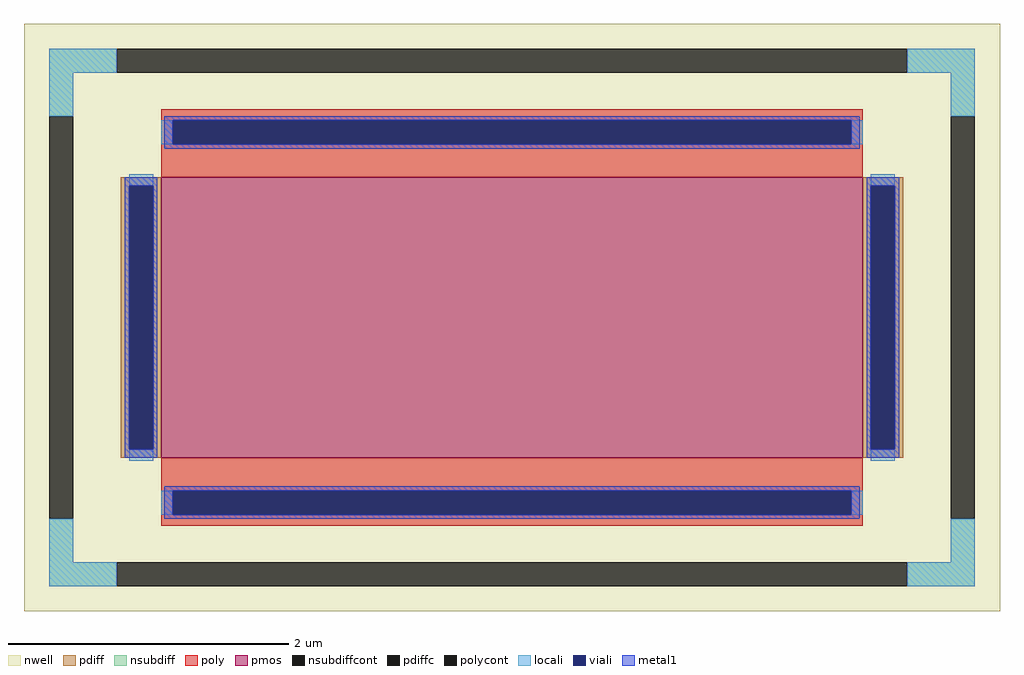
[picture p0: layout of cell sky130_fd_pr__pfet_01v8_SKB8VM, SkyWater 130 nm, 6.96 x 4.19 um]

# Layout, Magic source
magic
tech sky130A
magscale 1 2
<< nwell >>
rect -696 -419 696 419
<< pmos >>
rect -500 -200 500 200
<< pdiff >>
rect -558 188 -500 200
rect -558 -188 -546 188
rect -512 -188 -500 188
rect -558 -200 -500 -188
rect 500 188 558 200
rect 500 -188 512 188
rect 546 -188 558 188
rect 500 -200 558 -188
<< pdiffc >>
rect -546 -188 -512 188
rect 512 -188 546 188
<< nsubdiff >>
rect -660 349 -564 383
rect 564 349 660 383
rect -660 287 -626 349
rect 626 287 660 349
rect -660 -349 -626 -287
rect 626 -349 660 -287
rect -660 -383 -564 -349
rect 564 -383 660 -349
<< nsubdiffcont >>
rect -564 349 564 383
rect -660 -287 -626 287
rect 626 -287 660 287
rect -564 -383 564 -349
<< poly >>
rect -500 281 500 297
rect -500 247 -484 281
rect 484 247 500 281
rect -500 200 500 247
rect -500 -247 500 -200
rect -500 -281 -484 -247
rect 484 -281 500 -247
rect -500 -297 500 -281
<< polycont >>
rect -484 247 484 281
rect -484 -281 484 -247
<< locali >>
rect -660 349 -564 383
rect 564 349 660 383
rect -660 287 -626 349
rect 626 287 660 349
rect -500 247 -484 281
rect 484 247 500 281
rect -546 188 -512 204
rect -546 -204 -512 -188
rect 512 188 546 204
rect 512 -204 546 -188
rect -500 -281 -484 -247
rect 484 -281 500 -247
rect -660 -349 -626 -287
rect 626 -349 660 -287
rect -660 -383 -564 -349
rect 564 -383 660 -349
<< viali >>
rect -484 247 484 281
rect -546 -188 -512 188
rect 512 -188 546 188
rect -484 -281 484 -247
<< metal1 >>
rect -496 281 496 287
rect -496 247 -484 281
rect 484 247 496 281
rect -496 241 496 247
rect -552 188 -506 200
rect -552 -188 -546 188
rect -512 -188 -506 188
rect -552 -200 -506 -188
rect 506 188 552 200
rect 506 -188 512 188
rect 546 -188 552 188
rect 506 -200 552 -188
rect -496 -247 496 -241
rect -496 -281 -484 -247
rect 484 -281 496 -247
rect -496 -287 496 -281
<< properties >>
string FIXED_BBOX -643 -366 643 366
string gencell sky130_fd_pr__pfet_01v8
string library sky130
string parameters w 2.0 l 5.0 m 1 nf 1 diffcov 100 polycov 100 guard 1 glc 1 grc 1 gtc 1 gbc 1 tbcov 100 rlcov 100 topc 1 botc 1 poverlap 0 doverlap 1 lmin 0.15 wmin 0.42 compatible {sky130_fd_pr__pfet_01v8  sky130_fd_pr__pfet_01v8_lvt sky130_fd_pr__pfet_01v8_hvt  sky130_fd_pr__pfet_g5v0d10v5} full_metal 1 viasrc 100 viadrn 100 viagate 100 viagb 0 viagr 0 viagl 0 viagt 0
<< end >>
